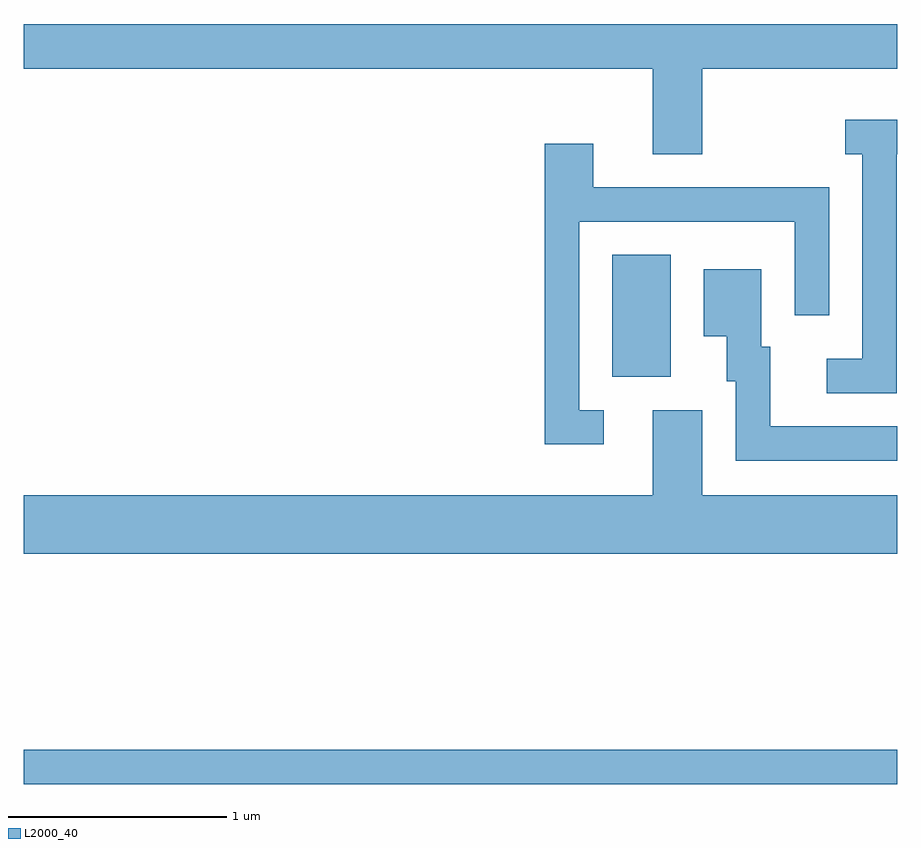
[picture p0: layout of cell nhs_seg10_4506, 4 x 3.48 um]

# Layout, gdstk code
import gdstk
lib = gdstk.Library(unit=1e-6, precision=1e-09)
def R(c, l, rs):  # rectangles x0, y0, x1, y1
    for r in rs: c.add(gdstk.rectangle(r[:2], r[2:], *l))
def P(c, l, *ps):  # polygons
    for p in ps: c.add(gdstk.Polygon(p, *l))
L2000_40 = (2000, 40)

nhs_seg10_4506 = lib.new_cell('nhs_seg10_4506')
R(nhs_seg10_4506, L2000_40, [(317.611,2155.041,321.611,2155.199), (320.306,2156.906,320.574,2157.464)])
P(nhs_seg10_4506, L2000_40, [(320.719,2158.316),(321.611,2158.316),(321.611,2158.522),(317.611,2158.522),(317.611,2158.316),(320.491,2158.316),(320.491,2157.926),(320.719,2157.926)],
  [(321.609,2157.926),(321.611,2157.926),(321.611,2158.084),(321.373,2158.084),(321.373,2157.926),(321.451,2157.926),(321.451,2156.989),(321.288,2156.989),(321.288,2156.831),(321.609,2156.831)],
  [(320.268,2156.754),(320.154,2156.754),(320.154,2157.616),(321.141,2157.616),(321.141,2157.188),(321.299,2157.188),(321.299,2157.774),(320.219,2157.774),(320.219,2157.974),(319.996,2157.974),(319.996,2156.596),(320.268,2156.596)],
  [(321.611,2156.679),(321.029,2156.679),(321.029,2157.044),(320.989,2157.044),(320.989,2157.399),(320.726,2157.399),(320.726,2157.091),(320.831,2157.091),(320.831,2156.886),(320.871,2156.886),(320.871,2156.521),(321.611,2156.521)],
  [(321.611,2156.364),(320.719,2156.364),(320.719,2156.754),(320.491,2156.754),(320.491,2156.364),(317.611,2156.364),(317.611,2156.096),(321.611,2156.096)])

lib.write_gds('nhs_seg10_4506.gds')
